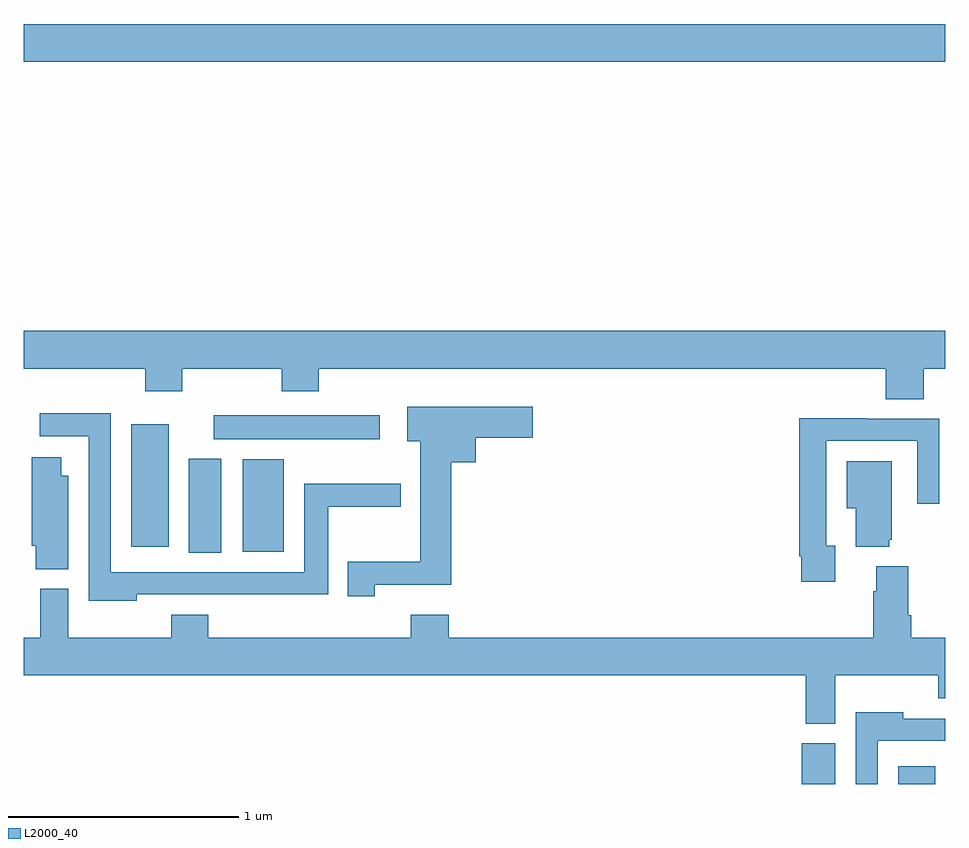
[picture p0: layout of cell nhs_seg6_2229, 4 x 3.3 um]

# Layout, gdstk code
import gdstk
lib = gdstk.Library(unit=1e-6, precision=1e-09)
def R(c, l, rs):  # rectangles x0, y0, x1, y1
    for r in rs: c.add(gdstk.rectangle(r[:2], r[2:], *l))
def P(c, l, *ps):  # polygons
    for p in ps: c.add(gdstk.Polygon(p, *l))
L2000_40 = (2000, 40)

nhs_seg6_2229 = lib.new_cell('nhs_seg6_2229')
R(nhs_seg6_2229, L2000_40, [(246.377,977.5,246.523,977.676), (246.797,977.5,246.958,977.578), (243.716,978.505,243.856,978.913), (243.95,978.509,244.129,978.91), (243.467,978.531,243.628,979.063), (243.825,978.998,244.546,979.102), (243,980.636,247,980.8)])
P(nhs_seg6_2229, L2000_40, [(246.908,979.304),(247,979.304),(247,979.468),(243,979.468),(243,979.304),(243.527,979.304),(243.527,979.205),(243.687,979.205),(243.687,979.304),(244.12,979.304),(244.12,979.205),(244.28,979.205),(244.28,979.304),(246.743,979.304),(246.743,979.171),(246.908,979.171)],
  [(244.524,978.365),(244.856,978.365),(244.856,978.896),(244.963,978.896),(244.963,979.004),(245.209,979.004),(245.209,979.138),(244.665,979.138),(244.665,978.989),(244.721,978.989),(244.721,978.465),(244.406,978.465),(244.406,978.315),(244.524,978.315)],
  [(243.489,978.324),(243.883,978.324),(243.883,978.323),(244.321,978.323),(244.321,978.703),(244.636,978.703),(244.636,978.803),(244.217,978.803),(244.217,978.42),(243.378,978.42),(243.378,979.109),(243.069,979.109),(243.069,979.01),(243.282,979.01),(243.282,978.296),(243.489,978.296)],
  [(246.523,978.534),(246.483,978.534),(246.483,978.99),(246.879,978.99),(246.879,978.717),(246.975,978.717),(246.975,979.086),(246.659,979.086),(246.659,979.088),(246.367,979.088),(246.367,978.49),(246.375,978.49),(246.375,978.378),(246.523,978.378)],
  [(243.193,978.838),(243.163,978.838),(243.163,978.919),(243.034,978.919),(243.034,978.534),(243.052,978.534),(243.052,978.433),(243.193,978.433)],
  [(246.758,978.561),(246.769,978.561),(246.769,978.901),(246.572,978.901),(246.572,978.698),(246.611,978.698),(246.611,978.53),(246.758,978.53)],
  [(246.523,977.972),(246.97,977.972),(246.97,977.873),(247,977.873),(247,978.136),(246.854,978.136),(246.854,978.232),(246.841,978.232),(246.841,978.445),(246.701,978.445),(246.701,978.338),(246.689,978.338),(246.689,978.136),(244.844,978.136),(244.844,978.235),(244.679,978.235),(244.679,978.136),(243.8,978.136),(243.8,978.235),(243.64,978.235),(243.64,978.136),(243.193,978.136),(243.193,978.348),(243.07,978.348),(243.07,978.136),(243,978.136),(243,977.972),(246.395,977.972),(246.395,977.761),(246.523,977.761)],
  [(246.708,977.688),(247,977.688),(247,977.784),(246.819,977.784),(246.819,977.812),(246.612,977.812),(246.612,977.5),(246.708,977.5)])

lib.write_gds('nhs_seg6_2229.gds')
